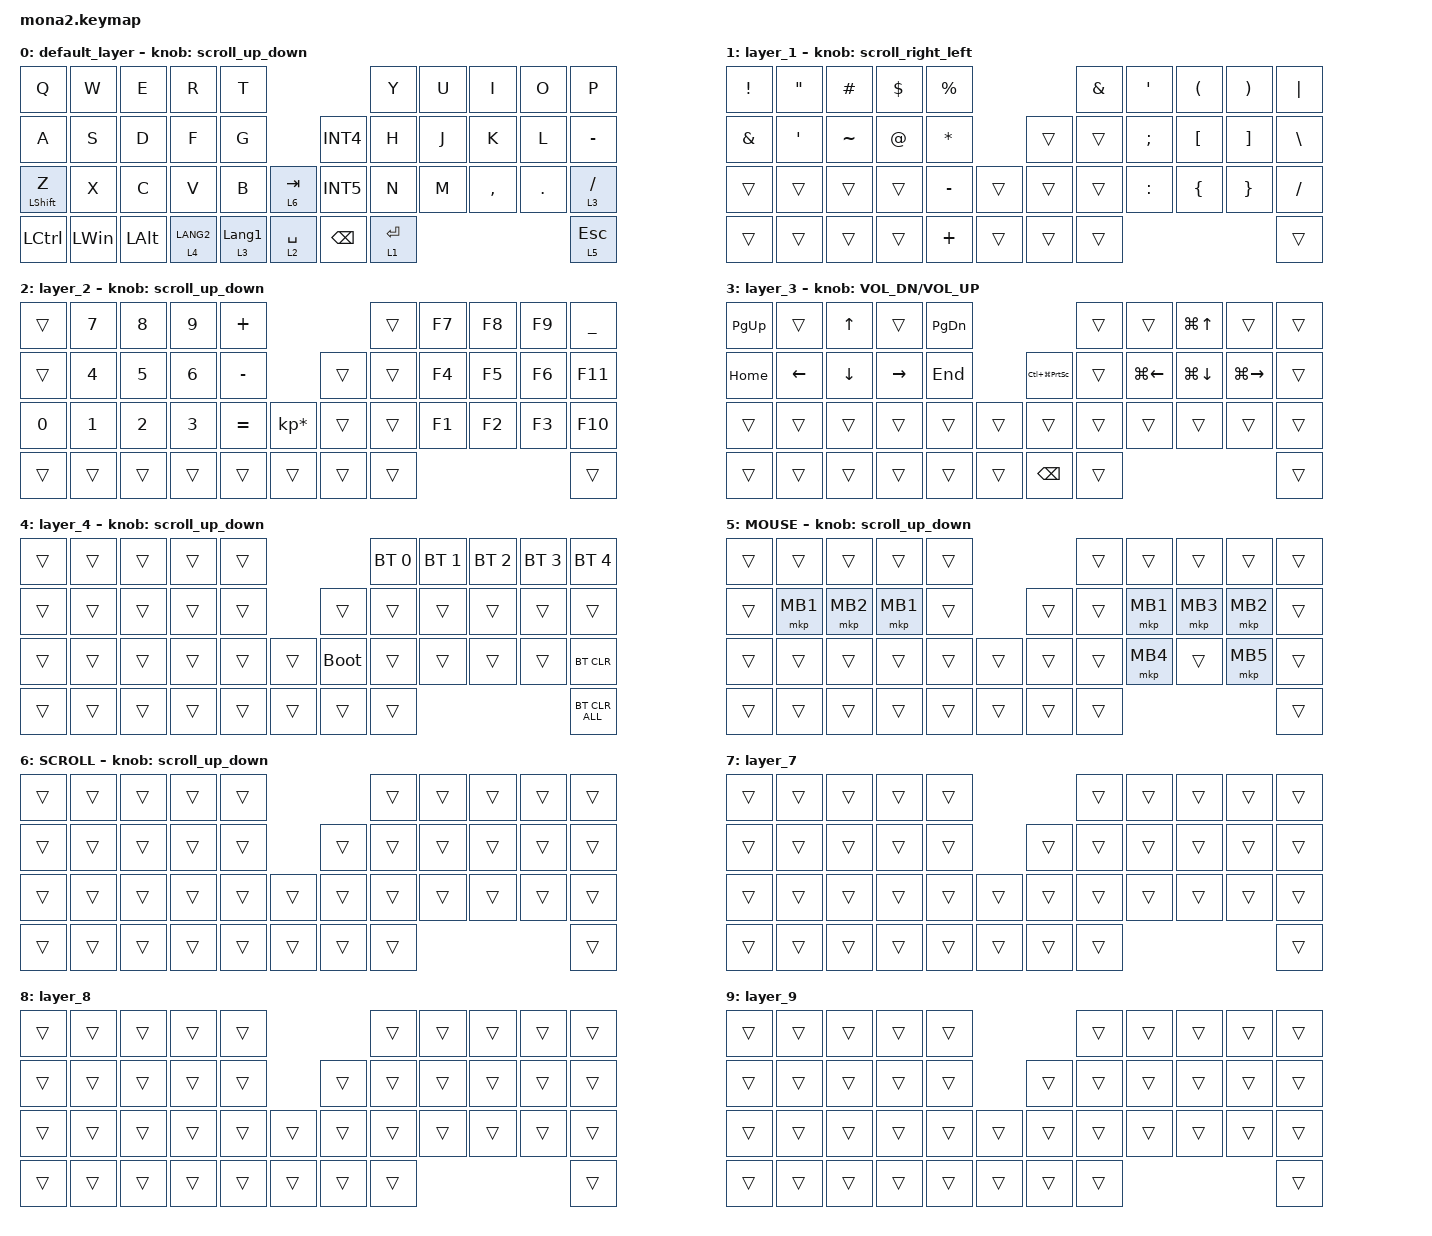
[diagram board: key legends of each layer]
#include <input/processors.dtsi>
#include <dt-bindings/zmk/input_transform.h>
#include <zephyr/dt-bindings/input/input-event-codes.h>
#include <behaviors.dtsi>
#include <dt-bindings/zmk/bt.h>
#include <dt-bindings/zmk/keys.h>
#include <dt-bindings/zmk/pointing.h>

#define ZMK_POINTING_DEFAULT_SCRL_VAL 100
#define MOUSE 5
#define SCROLL 6

&mt {
    flavor = "balanced";
    quick-tap-ms = <0>;
};

&lt {
    quick-tap-ms = <300>;
    flavor = "balanced";
};

/ {
    combos {
        compatible = "zmk,combos";

        layer4_ESC {
            bindings = <&lt 4 ESC>;
            key-positions = <39 38>;
        };

        tab {
            bindings = <&kp TAB>;
            key-positions = <11 12>;
        };

        Gesture_L8 {
            bindings = <&lt 8 LA(TAB)>;
            key-positions = <8 9>;
        };
    };

    macros {
        to_layer_0: to_layer_0 {
            compatible = "zmk,behavior-macro-one-param";
            #binding-cells = <1>;
            bindings = <&to 0 &macro_param_1to1 &kp MACRO_PLACEHOLDER>;
            label = "TO_LAYER_0";
        };
    };

    behaviors {
        lt_to_layer_0: lt_to_layer_0 {
            compatible = "zmk,behavior-hold-tap";
            label = "LAYER_TAP_TO_0";
            bindings = <&mo>, <&to_layer_0>;

            #binding-cells = <2>;
            tapping-term-ms = <200>;
        };

        scroll_up_down: mouse_wheel_up_down {
            compatible = "zmk,behavior-sensor-rotate";
            #sensor-binding-cells = <0>;
            bindings = <&msc SCRL_DOWN>, <&msc SCRL_UP>;

            tap-ms = <20>;
        };

        scroll_right_left: mouse_wheel_right_left {
            compatible = "zmk,behavior-sensor-rotate";
            #sensor-binding-cells = <0>;
            bindings = <&msc SCRL_LEFT>, <&msc SCRL_RIGHT>;

            tap-ms = <20>;
        };
    };

    keymap {
        compatible = "zmk,keymap";

        default_layer {
            bindings = <
&kp Q             &kp W         &kp E         &kp R        &kp T                                                      &kp Y        &kp U  &kp I      &kp O    &kp P
&kp A             &kp S         &kp D         &kp F        &kp G                                       &kp INT4       &kp H        &kp J  &kp K      &kp L    &kp MINUS
&mt LEFT_SHIFT Z  &kp X         &kp C         &kp V        &kp B                        &lt 6 TAB      &kp INT5       &kp N        &kp M  &kp COMMA  &kp DOT  &lt 3 SLASH
&kp LCTRL         &kp LEFT_WIN  &kp LEFT_ALT  &lt 4 LANG2  &lt_to_layer_0 3 LANGUAGE_1  &lt 2 SPACE    &kp BACKSPACE  &lt 1 ENTER                             &lt 5 ESC
            >;

            sensor-bindings = <&scroll_up_down>;
        };

        layer_1 {
            bindings = <
&kp EXCLAMATION  &kp DOUBLE_QUOTES  &kp HASH   &kp DOLLAR   &kp PERCENT                     &kp AMPERSAND  &kp SQT        &kp LEFT_PARENTHESIS  &kp RIGHT_PARENTHESIS  &kp PIPE
&kp AMPERSAND    &kp SINGLE_QUOTE   &kp TILDE  &kp AT_SIGN  &kp ASTERISK            &trans  &trans         &kp SEMICOLON  &kp LEFT_BRACKET      &kp RIGHT_BRACKET      &kp BACKSLASH
&trans           &trans             &trans     &trans       &kp MINUS     &trans    &trans  &trans         &kp COLON      &kp LEFT_BRACE        &kp RIGHT_BRACE        &kp SLASH
&trans           &trans             &trans     &trans       &kp PLUS      &trans    &trans  &trans                                                                     &trans
            >;

            sensor-bindings = <&scroll_right_left>;
        };

        layer_2 {
            bindings = <
&trans        &kp NUMBER_7  &kp NUMBER_8  &kp NUMBER_9  &kp PLUS                              &trans  &kp F7  &kp F8  &kp F9  &kp UNDERSCORE
&trans        &kp NUMBER_4  &kp NUMBER_5  &kp NUMBER_6  &kp MINUS                     &trans  &trans  &kp F4  &kp F5  &kp F6  &kp F11
&kp NUMBER_0  &kp NUMBER_1  &kp NUMBER_2  &kp NUMBER_3  &kp EQUAL  &kp KP_MULTIPLY    &trans  &trans  &kp F1  &kp F2  &kp F3  &kp F10
&trans        &trans        &trans        &trans        &trans     &trans             &trans  &trans                          &trans
            >;

            sensor-bindings = <&scroll_up_down>;
        };

        layer_3 {
            bindings = <
&kp PG_UP  &trans    &kp UP    &trans     &kp PG_DN                               &trans  &trans              &kp LG(UP_ARROW)    &trans               &trans
&kp HOME   &kp LEFT  &kp DOWN  &kp RIGHT  &kp END              &kp LC(LG(PSCRN))  &trans  &kp LG(LEFT_ARROW)  &kp LG(DOWN_ARROW)  &kp LG(RIGHT_ARROW)  &trans
&trans     &trans    &trans    &trans     &trans     &trans    &trans             &trans  &trans              &trans              &trans               &trans
&trans     &trans    &trans    &trans     &trans     &trans    &kp BACKSPACE      &trans                                                               &trans
            >;

            sensor-bindings = <&inc_dec_kp C_VOL_DN C_VOL_UP>;
        };

        layer_4 {
            bindings = <
&trans  &trans  &trans  &trans  &trans                         &bt BT_SEL 0  &bt BT_SEL 1  &bt BT_SEL 2  &bt BT_SEL 3  &bt BT_SEL 4
&trans  &trans  &trans  &trans  &trans            &trans       &trans        &trans        &trans        &trans        &trans
&trans  &trans  &trans  &trans  &trans  &trans    &bootloader  &trans        &trans        &trans        &trans        &bt BT_CLR
&trans  &trans  &trans  &trans  &trans  &trans    &trans       &trans                                                  &bt BT_CLR_ALL
            >;

            sensor-bindings = <&scroll_up_down>;
        };

        MOUSE {
            bindings = <
&trans  &trans    &trans    &trans    &trans                    &trans  &trans    &trans    &trans    &trans
&trans  &mkp MB1  &mkp MB2  &mkp MB1  &trans            &trans  &trans  &mkp MB1  &mkp MB3  &mkp MB2  &trans
&trans  &trans    &trans    &trans    &trans  &trans    &trans  &trans  &mkp MB4  &trans    &mkp MB5  &trans
&trans  &trans    &trans    &trans    &trans  &trans    &trans  &trans                                &trans
            >;

            sensor-bindings = <&scroll_up_down>;
        };

        SCROLL {
            bindings = <
&trans  &trans  &trans  &trans  &trans                    &trans  &trans  &trans  &trans  &trans
&trans  &trans  &trans  &trans  &trans            &trans  &trans  &trans  &trans  &trans  &trans
&trans  &trans  &trans  &trans  &trans  &trans    &trans  &trans  &trans  &trans  &trans  &trans
&trans  &trans  &trans  &trans  &trans  &trans    &trans  &trans                          &trans
            >;

            sensor-bindings = <&scroll_up_down>;
        };

        layer_7 {
            bindings = <
&trans  &trans  &trans  &trans  &trans                    &trans  &trans  &trans  &trans  &trans
&trans  &trans  &trans  &trans  &trans            &trans  &trans  &trans  &trans  &trans  &trans
&trans  &trans  &trans  &trans  &trans  &trans    &trans  &trans  &trans  &trans  &trans  &trans
&trans  &trans  &trans  &trans  &trans  &trans    &trans  &trans                          &trans
            >;
        };

        layer_8 {
            bindings = <
&trans  &trans  &trans  &trans  &trans                    &trans  &trans  &trans  &trans  &trans
&trans  &trans  &trans  &trans  &trans            &trans  &trans  &trans  &trans  &trans  &trans
&trans  &trans  &trans  &trans  &trans  &trans    &trans  &trans  &trans  &trans  &trans  &trans
&trans  &trans  &trans  &trans  &trans  &trans    &trans  &trans                          &trans
            >;
        };

        layer_9 {
            bindings = <
&trans  &trans  &trans  &trans  &trans                    &trans  &trans  &trans  &trans  &trans
&trans  &trans  &trans  &trans  &trans            &trans  &trans  &trans  &trans  &trans  &trans
&trans  &trans  &trans  &trans  &trans  &trans    &trans  &trans  &trans  &trans  &trans  &trans
&trans  &trans  &trans  &trans  &trans  &trans    &trans  &trans                          &trans
            >;
        };
    };
};
